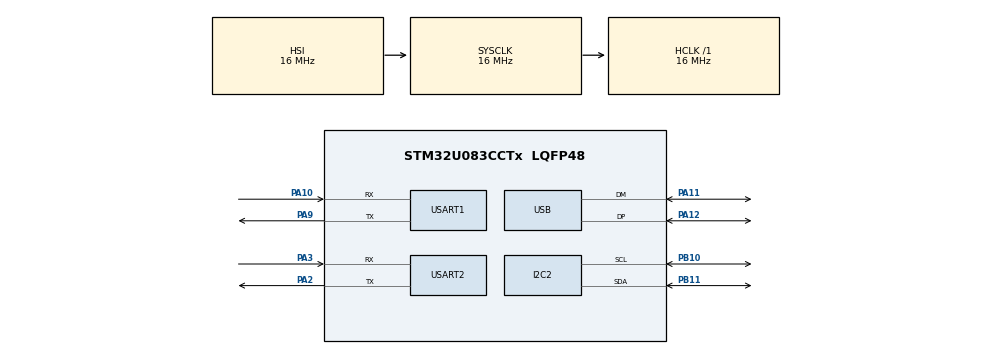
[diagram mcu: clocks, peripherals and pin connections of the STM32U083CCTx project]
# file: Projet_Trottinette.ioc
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I2C2.Timing=0x00303D5B
Mcu.Family=STM32U0
Mcu.Name=STM32U083CCTx
Mcu.Package=LQFP48
NVIC.PriorityGroup=NVIC_PRIORITYGROUP_2
PA10.Mode=Asynchronous
PA10.Signal=USART1_RX
PA11\ [PA9].Mode=Device
PA11\ [PA9].Signal=USB_DM
PA12\ [PA10].Mode=Device
PA12\ [PA10].Signal=USB_DP
PA13\ (SWDIO).Mode=Serial_Wire
PA13\ (SWDIO).Signal=DEBUG_JTMS-SWDIO
PA14\ (SWCLK).Mode=Serial_Wire
PA14\ (SWCLK).Signal=DEBUG_JTCK-SWCLK
PA2.Mode=Asynchronous
PA2.Signal=USART2_TX
PA3.Mode=Asynchronous
PA3.Signal=USART2_RX
PA9.Mode=Asynchronous
PA9.Signal=USART1_TX
PB10.Mode=I2C
PB10.Signal=I2C2_SCL
PB11.Mode=I2C
PB11.Signal=I2C2_SDA
ProjectManager.HeapSize=0x200
ProjectManager.StackSize=0x400
ProjectManager.TargetToolchain=STM32CubeIDE
RCC.AHBFreq_Value=16000000
RCC.CortexFreq_Value=16000000
RCC.HCLKFreq_Value=16000000
RCC.HSE_VALUE=4000000
RCC.HSI48_VALUE=48000000
RCC.HSI_VALUE=16000000
RCC.LSE_VALUE=32768
RCC.MSIClockRangeVal=RCC_MSIRANGE_11
RCC.MSI_VALUE=48000000
RCC.SYSCLKFreq_VALUE=16000000
RCC.USBFreq_Value=48000000
RCC.VCOOutputFreq_Value=64000000
USART1.VirtualMode-Asynchronous=VM_ASYNC
USART2.VirtualMode-Asynchronous=VM_ASYNC
USB.VirtualMode=Device_Only
VP_PWR_VS_SECSignals.Mode=Security/Privilege
board=custom

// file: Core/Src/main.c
/* USER CODE BEGIN Header */
/**
  ******************************************************************************
  * @file           : main.c
  * @brief          : Main program body
  ******************************************************************************
  * @attention
  *
  * Copyright (c) 2026 STMicroelectronics.
  * All rights reserved.
  *
  * This software is licensed under terms that can be found in the LICENSE file
  * in the root directory of this software component.
  * If no LICENSE file comes with this software, it is provided AS-IS.
  *
  ******************************************************************************
  */
/* USER CODE END Header */
#include "main.h"
#include "flash.h"
#include "i2c.h"
#include "usart.h"
#include "usb.h"
#include "gpio.h"

/* USER CODE BEGIN Includes */
#include <string.h>
#include <stdio.h>
/* USER CODE END Includes */

/* USER CODE BEGIN PD */
#define RX_BUFFER_SIZE 256
/* USER CODE END PD */

/* USER CODE BEGIN PV */
char rx_buffer[RX_BUFFER_SIZE];
uint16_t rx_index = 0;
char Message[20] = {"\0"};
uint8_t uart1_rx;
uint8_t uart2_rx;
/* USER CODE END PV */

void SystemClock_Config(void);

int main(void)
{

  /* MCU Configuration--------------------------------------------------------*/

  /* Reset of all peripherals, Initializes the Flash interface and the Systick. */
  HAL_Init();

  /* Configure the system clock */
  SystemClock_Config();

  /* Initialize all configured peripherals */
  MX_GPIO_Init();
  MX_I2C2_Init();
  MX_USART1_UART_Init();
  MX_USART2_UART_Init();
  MX_USB_PCD_Init();
  MX_FLASH_Init();

  /* Infinite loop */
  while (1)
  {

    /* USER CODE BEGIN 3 */
	  // Start reception
	  /*HAL_UART_Receive_IT(&huart1, &uart1_rx, 1);
	  HAL_UART_Receive_IT(&huart2, &uart2_rx, 1);*/

	  uint8_t byte;

	  if(HAL_UART_Receive(&huart2, &byte, 1, 1) == HAL_OK)
	  {
		  HAL_UART_Transmit(&huart1, &byte, 1, HAL_MAX_DELAY);
	  }
	  /*strcpy(Message, "INVALIDE\n\r");
	  HAL_UART_Transmit(&huart1,(uint8_t*)Message , 15, 100);
	  HAL_Delay(2000);*/
  }
  /* USER CODE END 3 */
}

void SystemClock_Config(void)
{
  RCC_OscInitTypeDef RCC_OscInitStruct = {0};
  RCC_ClkInitTypeDef RCC_ClkInitStruct = {0};

  /** Configure the main internal regulator output voltage
  */
  HAL_PWREx_ControlVoltageScaling(PWR_REGULATOR_VOLTAGE_SCALE2);

  /** Initializes the RCC Oscillators according to the specified parameters
  * in the RCC_OscInitTypeDef structure.
  */
  RCC_OscInitStruct.OscillatorType = RCC_OSCILLATORTYPE_HSI|RCC_OSCILLATORTYPE_MSI;
  RCC_OscInitStruct.HSIState = RCC_HSI_ON;
  RCC_OscInitStruct.HSICalibrationValue = RCC_HSICALIBRATION_DEFAULT;
  RCC_OscInitStruct.MSIState = RCC_MSI_ON;
  RCC_OscInitStruct.MSICalibrationValue = RCC_MSICALIBRATION_DEFAULT;
  RCC_OscInitStruct.MSIClockRange = RCC_MSIRANGE_11;
  RCC_OscInitStruct.PLL.PLLState = RCC_PLL_NONE;
  if (HAL_RCC_OscConfig(&RCC_OscInitStruct) != HAL_OK)
  {
    Error_Handler();
  }

  /** Initializes the CPU, AHB and APB buses clocks
  */
  RCC_ClkInitStruct.ClockType = RCC_CLOCKTYPE_HCLK|RCC_CLOCKTYPE_SYSCLK
                              |RCC_CLOCKTYPE_PCLK1;
  RCC_ClkInitStruct.SYSCLKSource = RCC_SYSCLKSOURCE_HSI;
  RCC_ClkInitStruct.AHBCLKDivider = RCC_SYSCLK_DIV1;
  RCC_ClkInitStruct.APB1CLKDivider = RCC_HCLK_DIV1;

  if (HAL_RCC_ClockConfig(&RCC_ClkInitStruct, FLASH_LATENCY_1) != HAL_OK)
  {
    Error_Handler();
  }
}

/* USER CODE BEGIN 4 */
// Callback function
void HAL_UART_RxCpltCallback(UART_HandleTypeDef *huart) {
  if (huart->Instance == USART1) {
    HAL_UART_Transmit(&huart2, &uart1_rx, 1, 10);
    HAL_UART_Receive_IT(&huart1, &uart1_rx, 1); // Re-enable
  } else if (huart->Instance == USART2) {
    HAL_UART_Transmit(&huart1, &uart2_rx, 1, 10);
    HAL_UART_Receive_IT(&huart2, &uart2_rx, 1); // Re-enable
  }
}

/* USER CODE END 4 */

void Error_Handler(void)
{
  __disable_irq();
  while (1)
  {
  }
}
